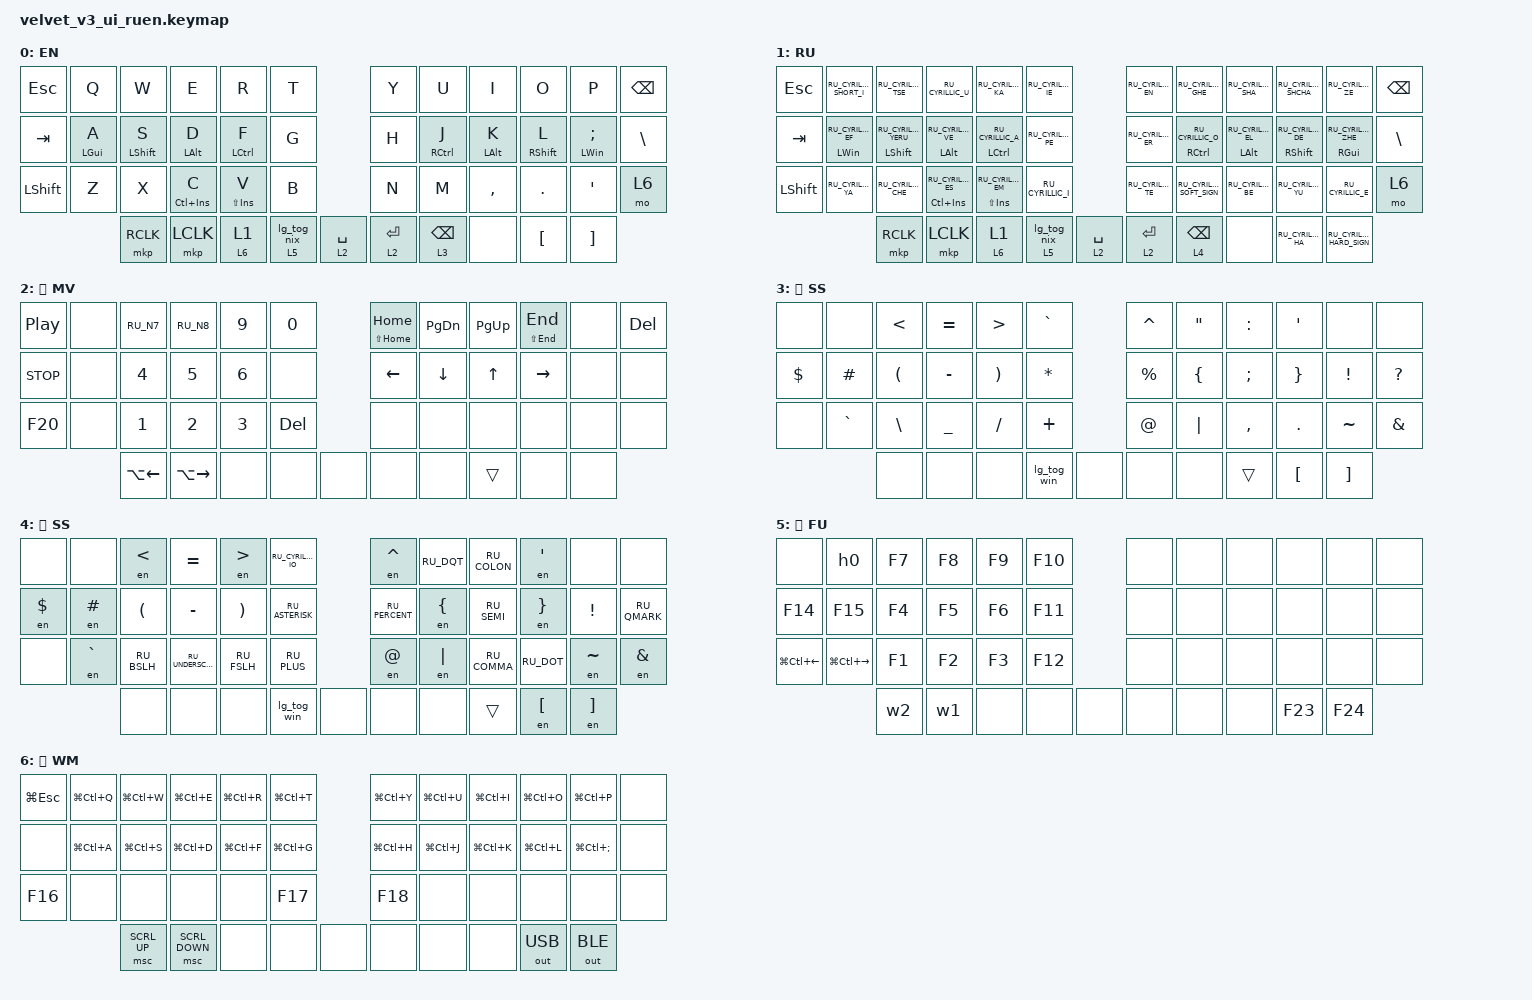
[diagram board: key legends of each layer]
#include "keys_ru.h"
#include <dt-bindings/zmk/input_transform.h>
#include <input/processors.dtsi>
#include <zephyr/dt-bindings/input/input-event-codes.h>
#include <scroll-snap.dtsi>
#include <behaviors.dtsi>
#include <dt-bindings/zmk/keys.h>
#include <dt-bindings/zmk/outputs.h>
#include <dt-bindings/zmk/pointing.h>

/ {
    behaviors {
        cap_sen: cap_sen {
            compatible = "zmk,behavior-hold-tap";
            label = "CAP_SEN";
            bindings = <&mo>, <&mkp>;

            #binding-cells = <2>;
            tapping-term-ms = <150>;
            hold-while-undecided;
        };

        td_lang_nix: td_lang_nix {
            compatible = "zmk,behavior-hold-tap";
            label = "TD_LANG_NIX";
            bindings = <&mo>, <&lg_tog_nix>;

            #binding-cells = <2>;
            tapping-term-ms = <125>;
        };

        mt_125: mt_125 {
            compatible = "zmk,behavior-hold-tap";
            label = "MT_125";
            bindings = <&mo>, <&tog>;

            #binding-cells = <2>;
            tapping-term-ms = <125>;
        };

        ht_200: ht_200 {
            compatible = "zmk,behavior-hold-tap";
            label = "HT_200";
            bindings = <&kp>, <&kp>;

            #binding-cells = <2>;
            tapping-term-ms = <200>;
            flavor = "balanced";
        };

        ht_150: ht_150 {
            compatible = "zmk,behavior-hold-tap";
            label = "HT_150";
            bindings = <&kp>, <&kp>;

            #binding-cells = <2>;
            tapping-term-ms = <150>;
        };

        ht_250: ht_250 {
            compatible = "zmk,behavior-hold-tap";
            label = "HT_250";
            bindings = <&kp>, <&kp>;

            #binding-cells = <2>;
            tapping-term-ms = <250>;
        };

        ht_400: ht_400 {
            compatible = "zmk,behavior-hold-tap";
            label = "HT_400";
            bindings = <&kp>, <&kp>;

            #binding-cells = <2>;
            tapping-term-ms = <400>;
        };

        mt_150: mt_150 {
            compatible = "zmk,behavior-hold-tap";
            label = "MT_150";
            bindings = <&mo>, <&tog>;

            #binding-cells = <2>;
            tapping-term-ms = <150>;
        };

        ht_300: ht_300 {
            compatible = "zmk,behavior-hold-tap";
            label = "HT_300";
            bindings = <&kp>, <&kp>;

            #binding-cells = <2>;
            tapping-term-ms = <300>;
        };

        zip_auto_mouse: zip_auto_mouse {
            compatible = "zmk,input-processor-temp-layer";
            #input-processor-cells = <2>;
            require-prior-idle-ms = <800>;
            excluded-positions = <>;
        };
    };

    combos {
        compatible = "zmk,combos";

        middle_combo {
            bindings = <&mkp MCLK>;
            key-positions = <36 37>;
            layers = <0 1>;
        };
    };

    macros {
        to_ru: to_ru {
            compatible = "zmk,behavior-macro";
            #binding-cells = <0>;
            bindings = <&kp LA(LS(N1))>;
            label = "TO_RU";
            wait-ms = <0>;
            tap-ms = <30>;
        };

        to_en: to_en {
            compatible = "zmk,behavior-macro";
            #binding-cells = <0>;
            bindings = <&kp LA(LS(N0))>;
            label = "TO_EN";
            wait-ms = <0>;
            tap-ms = <30>;
        };

        layer_en: layer_en {
            compatible = "zmk,behavior-macro";
            #binding-cells = <0>;
            bindings = <&to 0 &to_en>;
            label = "LAYER_EN";
            wait-ms = <0>;
            tap-ms = <30>;
        };

        layer_ru: layer_ru {
            compatible = "zmk,behavior-macro";
            #binding-cells = <0>;
            bindings = <&to 1 &to_ru>;
            label = "LAYER_RU";
            tap-ms = <30>;
            wait-ms = <0>;
        };

        en: en {
            compatible = "zmk,behavior-macro-one-param";
            #binding-cells = <1>;
            bindings =
                <&to_en>,
                <&macro_press>,
                <&macro_param_1to1 &kp MACRO_PLACEHOLDER>,
                <&macro_pause_for_release>,
                <&macro_release>,
                <&macro_param_1to1 &kp MACRO_PLACEHOLDER>,
                <&macro_tap>,
                <&to_ru>;

            label = "EN";
            wait-ms = <0>;
            tap-ms = <30>;
        };

        lg_tog_nix: lg_tog_nix {
            compatible = "zmk,behavior-macro";
            #binding-cells = <0>;
            bindings = <&kp CAPS &tog 1>;
            label = "LG_TOG_NIX";
        };

        lg_tog_win: lg_tog_win {
            compatible = "zmk,behavior-macro";
            #binding-cells = <0>;
            bindings = <&kp LA(LEFT_SHIFT) &tog 1>;
            label = "LG_TOG_WIN";
        };

        h0: h0 {
            compatible = "zmk,behavior-macro";
            #binding-cells = <0>;
            bindings = <&kp PRCNT &kp X &kp LS(K) &kp K &kp LS(U) &kp EXCL &kp H &kp N7 &kp RET>;
            label = "H0";
        };

        w1: w1 {
            compatible = "zmk,behavior-macro";
            #binding-cells = <0>;
            bindings = <&kp D &kp E &kp C &kp A &kp FSLH &kp X &kp N3 &kp LS(E) &kp I &kp D &kp O &kp O &kp N8 &kp N3 &kp N8 &kp N3>;
            label = "W1";
        };

        w2: w2 {
            compatible = "zmk,behavior-macro";
            #binding-cells = <0>;
            bindings = <&kp D &kp E &kp C &kp A &kp FSLH &kp X &kp N3 &kp LS(E) &kp I &kp D &kp O &kp O &kp N4 &kp N3 &kp N4 &kp N3>;
            label = "W2";
        };
    };

    keymap {
        compatible = "zmk,keymap";

        en {
            bindings = <
&kp ESC    &kp Q               &kp W                 &kp E               &kp R              &kp T                                          &kp Y            &kp U            &kp I               &kp O              &kp P                  &kp BSPC
&kp TAB    &ht_200 LEFT_GUI A  &ht_200 LEFT_SHIFT S  &ht_200 LEFT_ALT D  &ht_200 LCTRL F    &kp G                                          &kp H            &ht_200 RCTRL J  &ht_200 LEFT_ALT K  &ht_200 RSHFT L    &ht_200 LEFT_WIN SEMI  &kp BSLH
&kp LSHFT  &kp Z               &kp X                 &ht_200 LC(INS) C   &ht_300 LS(INS) V  &kp B                                          &kp N            &kp M            &kp COMMA           &kp DOT            &kp SQT                &mo 6
                               &mkp RCLK             &mkp LCLK           &mt_150 6 1        &td_lang_nix 5 0  &lt 2 SPACE    &lt 2 RETURN  &lt 3 BACKSPACE  &none            &kp LEFT_BRACKET    &kp RIGHT_BRACKET
            >;

            display-name = "EN";
        };

        ru {
            display-name = "RU";
            bindings = <
&kp ESC         &kp RU_CYRILLIC_SHORT_I      &kp RU_CYRILLIC_TSE             &kp RU_CYRILLIC_U                &kp RU_CYRILLIC_KA              &kp RU_CYRILLIC_IE                              &kp RU_CYRILLIC_EN  &kp RU_CYRILLIC_GHE          &kp RU_CYRILLIC_SHA              &kp RU_CYRILLIC_SHCHA         &kp RU_CYRILLIC_ZE                 &kp BSPC
&kp TAB         &ht_200 LWIN RU_CYRILLIC_EF  &ht_200 LSHFT RU_CYRILLIC_YERU  &ht_200 LEFT_ALT RU_CYRILLIC_VE  &ht_200 LCTRL RU_CYRILLIC_A     &kp RU_CYRILLIC_PE                              &kp RU_CYRILLIC_ER  &ht_200 RCTRL RU_CYRILLIC_O  &ht_200 LEFT_ALT RU_CYRILLIC_EL  &ht_200 RSHFT RU_CYRILLIC_DE  &ht_200 RIGHT_GUI RU_CYRILLIC_ZHE  &kp BSLH
&kp LEFT_SHIFT  &kp RU_CYRILLIC_YA           &kp RU_CYRILLIC_CHE             &ht_200 LC(INS) RU_CYRILLIC_ES   &ht_300 LS(INS) RU_CYRILLIC_EM  &kp RU_CYRILLIC_I                               &kp RU_CYRILLIC_TE  &kp RU_CYRILLIC_SOFT_SIGN    &kp RU_CYRILLIC_BE               &kp RU_CYRILLIC_YU            &kp RU_CYRILLIC_E                  &mo 6
                                             &mkp RCLK                       &mkp LCLK                        &mt_150 6 1                     &td_lang_nix 5 0    &lt 2 SPACE    &lt 2 ENTER  &lt 4 BACKSPACE     &none                        &kp RU_CYRILLIC_HA               &kp RU_CYRILLIC_HARD_SIGN
            >;
        };

        nav {
            bindings = <
&kp C_PLAY_PAUSE  &none  &kp RU_N7           &kp RU_N8            &kp N9        &kp NUMBER_0                  &ht_250 LS(HOME) HOME  &kp PAGE_DOWN   &kp PAGE_UP   &ht_250 LS(END) END  &none  &kp DELETE
&kp C_STOP        &none  &kp NUMBER_4        &kp NUMBER_5         &kp N6        &none                         &kp LEFT_ARROW         &kp DOWN_ARROW  &kp UP_ARROW  &kp RIGHT_ARROW      &none  &none
&kp F20           &none  &kp N1              &kp NUMBER_2         &kp NUMBER_3  &kp DEL                       &none                  &none           &none         &none                &none  &none
                         &kp LA(LEFT_ARROW)  &kp LA(RIGHT_ARROW)  &none         &none         &none    &none  &none                  &trans          &none         &none
            >;

            display-name = "  MV";
        };

        sym_en {
            bindings = <
&none     &none      &kp LT    &kp EQUAL  &kp GT    &kp GRAVE                     &kp CARET  &kp DQT   &kp COLON  &kp SQT   &none      &none
&kp DLLR  &kp HASH   &kp LPAR  &kp MINUS  &kp RPAR  &kp ASTERISK                  &kp PRCNT  &kp LBRC  &kp SEMI   &kp RBRC  &kp EXCL   &kp QUESTION
&none     &kp GRAVE  &kp BSLH  &kp UNDER  &kp FSLH  &kp PLUS                      &kp AT     &kp PIPE  &kp COMMA  &kp DOT   &kp TILDE  &kp AMPERSAND
                     &none     &none      &none     &lg_tog_win   &none    &none  &none      &trans    &kp LBKT   &kp RBKT
            >;

            display-name = "󰓅  SS";
        };

        sym_ru {
            display-name = "󰓅  SS";
            bindings = <
&none     &none      &en LT       &kp EQUAL          &en GT       &kp RU_CYRILLIC_IO                  &en CARET       &kp RU_DQT  &kp RU_COLON  &en SQT     &none      &none
&en DLLR  &en HASH   &kp LPAR     &kp MINUS          &kp RPAR     &kp RU_ASTERISK                     &kp RU_PERCENT  &en LBRC    &kp RU_SEMI   &en RBRC    &kp EXCL   &kp RU_QMARK
&none     &en GRAVE  &kp RU_BSLH  &kp RU_UNDERSCORE  &kp RU_FSLH  &kp RU_PLUS                         &en AT          &en PIPE    &kp RU_COMMA  &kp RU_DOT  &en TILDE  &en AMPERSAND
                     &none        &none              &none        &lg_tog_win         &none    &none  &none           &trans      &en LBKT      &en RBKT
            >;
        };

        adj {
            bindings = <
&none                   &h0                      &kp F7  &kp F8  &kp F9  &kp F10                  &none  &none  &none    &none    &none  &none
&kp F14                 &kp F15                  &kp F4  &kp F5  &kp F6  &kp F11                  &none  &none  &none    &none    &none  &none
&kp LG(LC(LEFT_ARROW))  &kp LG(LC(RIGHT_ARROW))  &kp F1  &kp F2  &kp F3  &kp F12                  &none  &none  &none    &none    &none  &none
                                                 &w2     &w1     &none   &none    &none    &none  &none  &none  &kp F23  &kp F24
            >;

            display-name = "  FU";
        };

        mango {
            bindings = <
&kp LG(ESC)  &kp LG(LC(Q))  &kp LG(LC(W))  &kp LG(LC(E))   &kp LG(LC(R))  &kp LG(LC(T))                  &kp LG(LC(Y))  &kp LG(LC(U))  &kp LG(LC(I))  &kp LG(LC(O))  &kp LG(LC(P))     &none
&none        &kp LG(LC(A))  &kp LG(LC(S))  &kp LG(LC(D))   &kp LG(LC(F))  &kp LG(LC(G))                  &kp LG(LC(H))  &kp LG(LC(J))  &kp LG(LC(K))  &kp LG(LC(L))  &kp LG(LC(SEMI))  &none
&kp F16      &none          &none          &none           &none          &kp F17                        &kp F18        &none          &none          &none          &none             &none
                            &msc SCRL_UP   &msc SCRL_DOWN  &none          &none          &none    &none  &none          &none          &out OUT_USB   &out OUT_BLE
            >;

            display-name = "  WM";
        };
    };
};

&trackball { cpi = <800>; };

&trackball_listener {
    input-processors = <&zip_xy_scaler 9 20>;

    scroller {
        layers = <6>;
        input-processors =
            <&zip_xy_transform INPUT_TRANSFORM_Y_INVERT>,
            <&zip_xy_scaler 1 64>,
            <&zip_xy_to_scroll_mapper &zip_scroll_snap>;
    };

    sniper {
        layers = <5>;
        input-processors = <&zip_xy_scaler 1 4>;
    };
};
